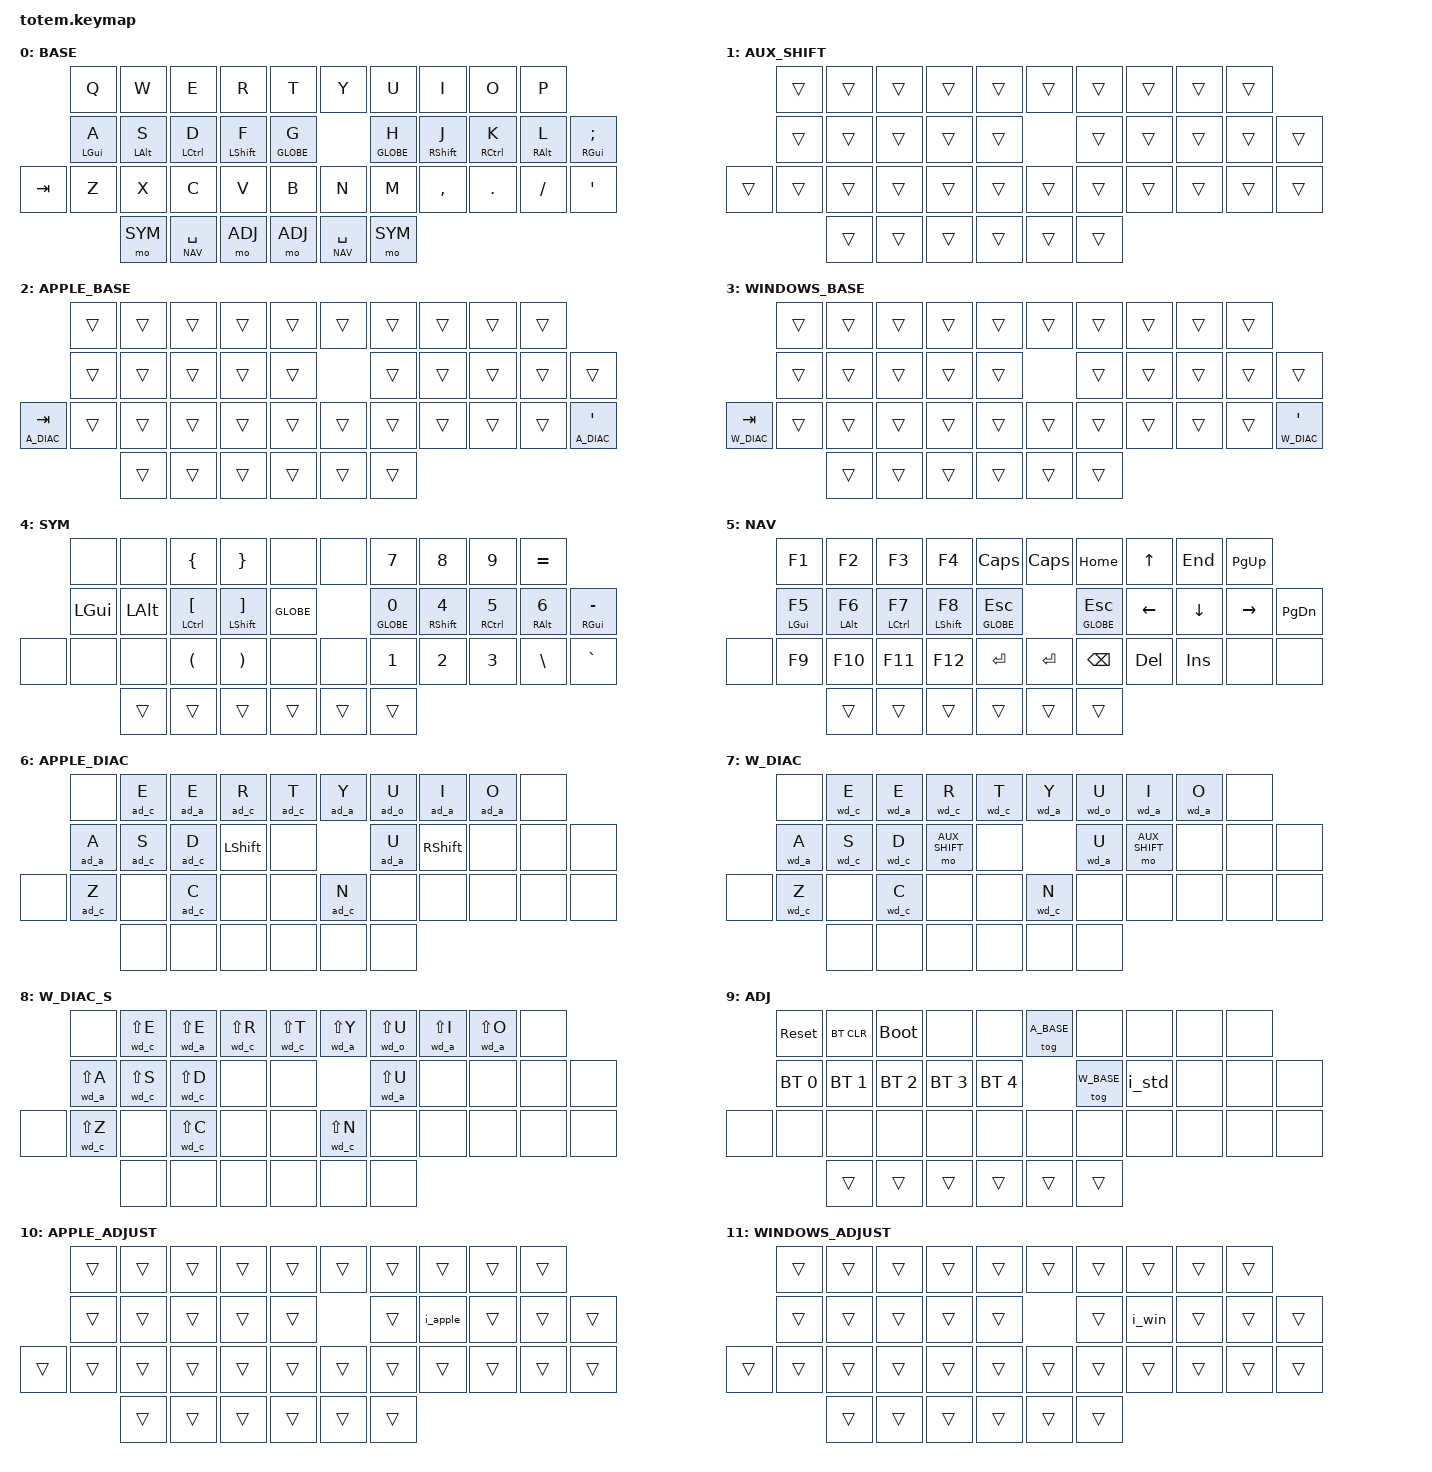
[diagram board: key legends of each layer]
#include <behaviors.dtsi>
#include <dt-bindings/zmk/keys.h>
#include <dt-bindings/zmk/bt.h>
#include <dt-bindings/zmk/outputs.h>

#include "apple_diacritics.macros"
#include "windows_diacritics.macros"

#define BASE 0
#define AUX_SHIFT 1
#define A_BASE 2
#define W_BASE 3
#define SYM  4
#define NAV  5
#define A_DIAC 6
#define W_DIAC 7
#define W_DIAC_S 8
#define ADJ  9
#define A_ADJ 10
#define W_ADJ 11

&mt {
	quick-tap-ms = <100>;
	global-quick-tap;
	flavor = "tap-preferred";
	tapping-term-ms = <170>;
};

/ {
   	macros {
		i_std: info_standard {
			compatible = "zmk,behavior-macro";
			#binding-cells = <0>;
			bindings = <&kp S &kp T &kp A &kp N &kp D &kp A &kp R &kp D>;
		};			

		i_win: info_windows {
			compatible = "zmk,behavior-macro";
			#binding-cells = <0>;
			bindings = <&kp W &kp I &kp N &kp D &kp O &kp W &kp S>;
		};

		i_apple: info_apple {
			compatible = "zmk,behavior-macro";
			#binding-cells = <0>;
			bindings = <&kp A &kp P &kp P &kp L &kp E>;
		};
	};

	conditional_layers {
		compatible = "zmk,conditional-layers";
		
		apple_adjust {
			if-layers = <A_BASE ADJ>;
			then-layer = <A_ADJ>;
		};
		
		windows_adjust {
			if-layers = <W_BASE ADJ>;
			then-layer = <W_ADJ>;
		};

		windows_diacritics_shift {
			if-layers = <AUX_SHIFT W_DIAC>;
			then-layer = <W_DIAC_S>;
		};
	};	

        keymap {
                compatible = "zmk,keymap";

                base_layer {
 			label= "BASE";
 			bindings = <
		&kp Q		&kp W		&kp E		&kp R		&kp T		&kp Y		&kp U		&kp I		&kp O		&kp P
		&mt LGUI A	&mt LALT S	&mt LCTRL D	&mt LSHFT F	&mt GLOBE G	&mt GLOBE H	&mt RSHFT J	&mt RCTRL K	&mt RALT L	&mt RGUI SEMI
&kp TAB		&kp Z		&kp X		&kp C		&kp V		&kp B		&kp N		&kp M		&kp COMMA	&kp DOT		&kp FSLH	&kp APOS
						&mo SYM		&lt NAV SPACE	&mo ADJ		&mo ADJ		&lt NAV SPACE	&mo SYM  
                        >;
                };

                aux_shift_layer {
 			label= "AUX_SHIFT";
 			bindings = <
		&trans		&trans		&trans		&trans		&trans		&trans		&trans		&trans		&trans		&trans
		&trans		&trans		&trans		&trans		&trans		&trans		&trans		&trans		&trans		&trans
&trans		&trans		&trans		&trans		&trans		&trans		&trans		&trans		&trans		&trans		&trans		&trans
						&trans		&trans		&trans		&trans		&trans		&trans  
                        >;
                };

                apple_base_layer {
 			label= "APPLE_BASE";
 			bindings = <
		&trans		&trans		&trans		&trans		&trans		&trans		&trans		&trans		&trans		&trans
		&trans		&trans		&trans		&trans		&trans		&trans		&trans		&trans		&trans		&trans
&lt A_DIAC TAB	&trans		&trans		&trans		&trans		&trans		&trans		&trans		&trans		&trans		&trans		&lt A_DIAC APOS
						&trans		&trans		&trans		&trans		&trans		&trans  
                        >;
                };

                windows_base_layer {
 			label= "WINDOWS_BASE";
 			bindings = <
		&trans		&trans		&trans		&trans		&trans		&trans		&trans		&trans		&trans		&trans
		&trans		&trans		&trans		&trans		&trans		&trans		&trans		&trans		&trans		&trans
&lt W_DIAC TAB	&trans		&trans		&trans		&trans		&trans		&trans		&trans		&trans		&trans		&trans		&lt W_DIAC APOS
						&trans		&trans		&trans		&trans		&trans		&trans  
                        >;
                };

                sym_layer {
			label= "SYM";
			bindings = <
		&none		&none		&kp LBRC	&kp RBRC	&none		&none		&kp N7		&kp N8		&kp N9		&kp EQUAL
		&kp LGUI	&kp LALT	&mt LCTRL LBKT	&mt LSHFT RBKT	&kp GLOBE	&mt GLOBE N0	&mt RSHFT N4	&mt RCTRL N5	&mt RALT N6	&mt RGUI MINUS
&none		&none		&none		&kp LPAR	&kp RPAR	&none		&none		&kp N1		&kp N2		&kp N3		&kp BSLH	&kp GRAVE 
						&trans		&trans		&trans		&trans		&trans		&trans      
                        >;
                };

                nav_layer {
			label= "NAV";
			bindings = <
		&kp F1		&kp F2		&kp F3		&kp F4		&kp CAPS	&kp CAPS	&kp HOME	&kp UP		&kp END		&kp PG_UP  
		&mt LGUI F5	&mt LALT F6	&mt LCTRL F7	&mt LSHFT F8	&mt GLOBE ESC	&mt GLOBE ESC	&kp LEFT	&kp DOWN	&kp RIGHT	&kp PG_DN   
&none		&kp F9		&kp F10		&kp F11		&kp F12		&kp RET		&kp RET		&kp BSPC	&kp DEL		&kp INS		&none		&none       
						&trans		&trans		&trans		&trans		&trans		&trans       
                        >;
                };

                apple_diacritics_layer {
 			label= "APPLE_DIAC";
 			bindings = <
		&none		&ad_c E		&ad_a E		&ad_c R		&ad_c T		&ad_a Y		&ad_o U		&ad_a I		&ad_a O		&none
		&ad_a A		&ad_c S		&ad_c D		&kp LSHFT	&none		&ad_a U		&kp RSHFT	&none		&none		&none
&none		&ad_c Z		&none		&ad_c C		&none		&none		&ad_c N		&none		&none		&none		&none		&none
						&none		&none		&none		&none		&none		&none
                        >;
                };

                windows_diacritics_layer {
 			label= "W_DIAC";
 			bindings = <
		&none		&wd_c E		&wd_a E		&wd_c R		&wd_c T		&wd_a Y		&wd_o U		&wd_a I		&wd_a O		&none
		&wd_a A		&wd_c S		&wd_c D		&mo AUX_SHIFT	&none		&wd_a U		&mo AUX_SHIFT	&none		&none		&none
&none		&wd_c Z		&none		&wd_c C		&none		&none		&wd_c N		&none		&none		&none		&none		&none
						&none		&none		&none		&none		&none		&none
                        >;
                };

                windows_diacritics_shift_layer {
 			label= "W_DIAC_S";
 			bindings = <
		&none		&wd_c LS(E)	&wd_a LS(E)	&wd_c LS(R)	&wd_c LS(T)	&wd_a LS(Y)	&wd_o LS(U)	&wd_a LS(I)	&wd_a LS(O)	&none
		&wd_a LS(A)	&wd_c LS(S)	&wd_c LS(D)	&none		&none		&wd_a LS(U)	&none		&none		&none		&none
&none		&wd_c LS(Z)	&none		&wd_c LS(C)	&none		&none		&wd_c LS(N)	&none		&none		&none		&none		&none
						&none		&none		&none		&none		&none		&none
                        >;
                };

                adjust_layer {
			label= "ADJ";
			bindings = <
		&sys_reset	&bt BT_CLR	&bootloader	&none		&none		&tog A_BASE	&none		&none		&none		&none 
		&bt BT_SEL 0	&bt BT_SEL 1	&bt BT_SEL 2	&bt BT_SEL 3	&bt BT_SEL 4	&tog W_BASE	&i_std		&none		&none		&none   
&none		&none		&none		&none		&none		&none		&none		&none		&none		&none		&none		&none         
						&trans		&trans		&trans		&trans		&trans		&trans      
                        >;
                };

                apple_adjust_layer {
 			label= "APPLE_ADJUST";
 			bindings = <
		&trans		&trans		&trans		&trans		&trans		&trans		&trans		&trans		&trans		&trans
		&trans		&trans		&trans		&trans		&trans		&trans		&i_apple	&trans		&trans		&trans
&trans		&trans		&trans		&trans		&trans		&trans		&trans		&trans		&trans		&trans		&trans		&trans
						&trans		&trans		&trans		&trans		&trans		&trans  
                        >;
                };

                windows_adjust_layer {
 			label= "WINDOWS_ADJUST";
 			bindings = <
		&trans		&trans		&trans		&trans		&trans		&trans		&trans		&trans		&trans		&trans
		&trans		&trans		&trans		&trans		&trans		&trans		&i_win		&trans		&trans		&trans
&trans		&trans		&trans		&trans		&trans		&trans		&trans		&trans		&trans		&trans		&trans		&trans
						&trans		&trans		&trans		&trans		&trans		&trans  
                        >;
                };
        };
};
